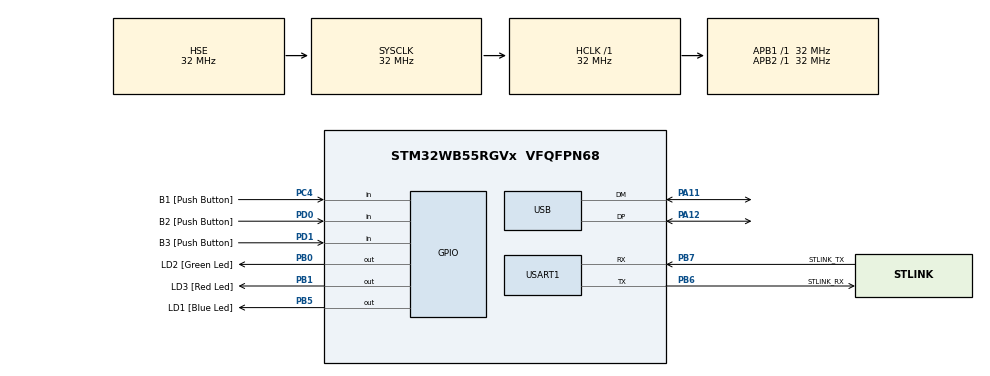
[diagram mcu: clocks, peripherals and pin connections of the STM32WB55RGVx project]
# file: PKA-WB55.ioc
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Mcu.Family=STM32WB
Mcu.Name=STM32WB55RGVx
Mcu.Package=VFQFPN68
NVIC.PriorityGroup=NVIC_PRIORITYGROUP_4
OSC_IN.Mode=HSE-External-Oscillator
OSC_IN.Signal=RCC_OSC_IN
OSC_OUT.Mode=HSE-External-Oscillator
OSC_OUT.Signal=RCC_OSC_OUT
PA11.Mode=Device
PA11.Signal=USB_DM
PA12.Mode=Device
PA12.Signal=USB_DP
PA13.GPIO_Label=JTMS
PA13.Mode=Trace_Asynchronous_SW
PA13.Signal=SYS_JTMS-SWDIO
PA14.GPIO_Label=JTCK
PA14.Mode=Trace_Asynchronous_SW
PA14.Signal=SYS_JTCK-SWCLK
PB0.GPIO_Label=LD2 [Green Led]
PB0.Signal=GPIO_Output
PB1.GPIO_Label=LD3 [Red Led]
PB1.Signal=GPIO_Output
PB3.GPIO_Label=JTDO
PB3.Mode=Trace_Asynchronous_SW
PB3.Signal=SYS_JTDO-SWO
PB5.GPIO_Label=LD1 [Blue Led]
PB5.Signal=GPIO_Output
PB6.GPIO_Label=STLINK_RX
PB6.GPIO_PuPd=GPIO_PULLUP
PB6.Mode=Asynchronous
PB6.Signal=USART1_TX
PB7.GPIO_Label=STLINK_TX
PB7.GPIO_PuPd=GPIO_PULLUP
PB7.Mode=Asynchronous
PB7.Signal=USART1_RX
PC13.Mode=SYS_WakeUp1
PC13.Signal=SYS_WKUP2
PC14-OSC32_IN.Mode=LSE-External-Oscillator
PC14-OSC32_IN.Signal=RCC_OSC32_IN
PC15-OSC32_OUT.Mode=LSE-External-Oscillator
PC15-OSC32_OUT.Signal=RCC_OSC32_OUT
PC4.GPIO_Label=B1 [Push Button]
PC4.Signal=GPIO_Input
PD0.GPIO_Label=B2 [Push Button]
PD0.Signal=GPIO_Input
PD1.GPIO_Label=B3 [Push Button]
PD1.Signal=GPIO_Input
ProjectManager.HeapSize=0x200
ProjectManager.StackSize=0x400
ProjectManager.TargetToolchain=STM32CubeIDE
RCC.ADCFreq_Value=48000000
RCC.AHBFreq_Value=32000000
RCC.APB1Freq_Value=32000000
RCC.APB1TimFreq_Value=32000000
RCC.APB2Freq_Value=32000000
RCC.APB2TimFreq_Value=32000000
RCC.APB3Freq_Value=16000000
RCC.CortexFreq_Value=32000000
RCC.HCLKFreq_Value=32000000
RCC.HSE_VALUE=32000000
RCC.HSI48_VALUE=48000000
RCC.HSI_VALUE=16000000
RCC.PLLN=32
RCC.PLLSAI1N=24
RCC.SMPSCLockSelectionVirtual=RCC_SMPSCLKSOURCE_HSI
RCC.SMPSCLockSelectionVirtualVirtual=RCC_SMPSCLKSOURCE_HSI
RCC.SMPSDivider=1
RCC.SYSCLKFreq_VALUE=32000000
RCC.SYSCLKSource=RCC_SYSCLKSOURCE_HSE
RCC.USBFreq_Value=48000000
RCC.VCOOutputFreq_Value=128000000
USART1.VirtualMode-Asynchronous=VM_ASYNC
USART1.WordLength=WORDLENGTH_7B
VP_PKA_VS_PKA.Mode=PKA_Activate
board=P-NUCLEO-WB55-Nucleo

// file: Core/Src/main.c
/* USER CODE BEGIN Header */
/**
  ******************************************************************************
  * @file           : main.c
  * @brief          : Main program body
  ******************************************************************************
  * @attention
  *
  * <h2><center>&copy; Copyright (c) 2021 STMicroelectronics.
  * All rights reserved.</center></h2>
  *
  * This software component is licensed by ST under BSD 3-Clause license,
  * the "License"; You may not use this file except in compliance with the
  * License. You may obtain a copy of the License at:
  *                        opensource.org/licenses/BSD-3-Clause
  *
  ******************************************************************************

-----BEGIN RSA PRIVATE KEY-----
MIICXAIBAAKBgQC1tZiF2UJFwA3ds4mspvqmxjBIyf5Terq7Xzwkh2QOjUCzW1aD
3r0OQqK/JhiY4NcluzkSnXSasRrY5qxbSsjGElC8VgsW61BsdB3Nh+UCfibO9czb
Y7DIX7pdaIQMiSyUadhasKzTe02c620VeABAjgXizWqbGpjwAeJa6ziHmQIDAQAB
AoGABS3j5wzGQs6ylnsjlXQ8+Lv1bF21jhOVdvnD8Raa139XNMWJtcCHivyDPweK
8/CUsVKg0dMDG9Woej4483EyP8atCdPT9hJQOQX1JNqx8gfQBUrwDr+1ffwFxUyd
hEoomWqWn+bmUcJE9Dpt4JLHfnlV6BS7tN+mOZunQ4ZQHcECQQDyPvxRwdWSRxpQ
sjBee+M2fzcynDpZNI6hLrZ9ouRR88TVCW3WVG4sTF9Hou8rN8tG0XgUJnHpPMmZ
obJdK/z9AkEAwAa3rOFjkkfnfh8IFDI0awFXxKZBsIz8sFOOeHjg/y+M0I3mENve
YCzAvUP7c7HPnTeDB69iSrMjaK5oM6YFzQJAWFtg7PEmVRRaJNTZj5zgYyBDodIZ
9i+VVnUTWv/vB3VCdfHafjKNfNreZeKoGbtgCZSdl7vuEIR7g+3WgOVqgQJAawjT
hMe1KqptvH0rkaZSVXrQI0rQvso3Z0mL1lb6gwNMKEuP+8GyeEU5wcWM+XYZVXbF
0JjP3vdvO0BL0M4v2QJBAI8kcn+nlpVXEOSFdY7njnnzh4LZd9wCDfLWyWNsTWuq
2x5Hf/ZxEzPJKj6OA90Q9CDfvePtVKek9T1VVUQEnRg=
-----END RSA PRIVATE KEY-----

RSA Private-Key: (1024 bit, 2 primes)
modulus:
    00:b5:b5:98:85:d9:42:45:c0:0d:dd:b3:89:ac:a6:
    fa:a6:c6:30:48:c9:fe:53:7a:ba:bb:5f:3c:24:87:
    64:0e:8d:40:b3:5b:56:83:de:bd:0e:42:a2:bf:26:
    18:98:e0:d7:25:bb:39:12:9d:74:9a:b1:1a:d8:e6:
    ac:5b:4a:c8:c6:12:50:bc:56:0b:16:eb:50:6c:74:
    1d:cd:87:e5:02:7e:26:ce:f5:cc:db:63:b0:c8:5f:
    ba:5d:68:84:0c:89:2c:94:69:d8:5a:b0:ac:d3:7b:
    4d:9c:eb:6d:15:78:00:40:8e:05:e2:cd:6a:9b:1a:
    98:f0:01:e2:5a:eb:38:87:99
publicExponent: 65537 (0x10001)
privateExponent:
    05:2d:e3:e7:0c:c6:42:ce:b2:96:7b:23:95:74:3c:
    f8:bb:f5:6c:5d:b5:8e:13:95:76:f9:c3:f1:16:9a:
    d7:7f:57:34:c5:89:b5:c0:87:8a:fc:83:3f:07:8a:
    f3:f0:94:b1:52:a0:d1:d3:03:1b:d5:a8:7a:3e:38:
    f3:71:32:3f:c6:ad:09:d3:d3:f6:12:50:39:05:f5:
    24:da:b1:f2:07:d0:05:4a:f0:0e:bf:b5:7d:fc:05:
    c5:4c:9d:84:4a:28:99:6a:96:9f:e6:e6:51:c2:44:
    f4:3a:6d:e0:92:c7:7e:79:55:e8:14:bb:b4:df:a6:
    39:9b:a7:43:86:50:1d:c1
prime1:
    00:f2:3e:fc:51:c1:d5:92:47:1a:50:b2:30:5e:7b:
    e3:36:7f:37:32:9c:3a:59:34:8e:a1:2e:b6:7d:a2:
    e4:51:f3:c4:d5:09:6d:d6:54:6e:2c:4c:5f:47:a2:
    ef:2b:37:cb:46:d1:78:14:26:71:e9:3c:c9:99:a1:
    b2:5d:2b:fc:fd
prime2:
    00:c0:06:b7:ac:e1:63:92:47:e7:7e:1f:08:14:32:
    34:6b:01:57:c4:a6:41:b0:8c:fc:b0:53:8e:78:78:
    e0:ff:2f:8c:d0:8d:e6:10:db:de:60:2c:c0:bd:43:
    fb:73:b1:cf:9d:37:83:07:af:62:4a:b3:23:68:ae:
    68:33:a6:05:cd
exponent1:
    58:5b:60:ec:f1:26:55:14:5a:24:d4:d9:8f:9c:e0:
    63:20:43:a1:d2:19:f6:2f:95:56:75:13:5a:ff:ef:
    07:75:42:75:f1:da:7e:32:8d:7c:da:de:65:e2:a8:
    19:bb:60:09:94:9d:97:bb:ee:10:84:7b:83:ed:d6:
    80:e5:6a:81
exponent2:
    6b:08:d3:84:c7:b5:2a:aa:6d:bc:7d:2b:91:a6:52:
    55:7a:d0:23:4a:d0:be:ca:37:67:49:8b:d6:56:fa:
    83:03:4c:28:4b:8f:fb:c1:b2:78:45:39:c1:c5:8c:
    f9:76:19:55:76:c5:d0:98:cf:de:f7:6f:3b:40:4b:
    d0:ce:2f:d9
coefficient:
    00:8f:24:72:7f:a7:96:95:57:10:e4:85:75:8e:e7:
    8e:79:f3:87:82:d9:77:dc:02:0d:f2:d6:c9:63:6c:
    4d:6b:aa:db:1e:47:7f:f6:71:13:33:c9:2a:3e:8e:
    03:dd:10:f4:20:df:bd:e3:ed:54:a7:a4:f5:3d:55:
    55:44:04:9d:18
writing RSA key
-----BEGIN RSA PRIVATE KEY-----
MIICXAIBAAKBgQC1tZiF2UJFwA3ds4mspvqmxjBIyf5Terq7Xzwkh2QOjUCzW1aD
3r0OQqK/JhiY4NcluzkSnXSasRrY5qxbSsjGElC8VgsW61BsdB3Nh+UCfibO9czb
Y7DIX7pdaIQMiSyUadhasKzTe02c620VeABAjgXizWqbGpjwAeJa6ziHmQIDAQAB
AoGABS3j5wzGQs6ylnsjlXQ8+Lv1bF21jhOVdvnD8Raa139XNMWJtcCHivyDPweK
8/CUsVKg0dMDG9Woej4483EyP8atCdPT9hJQOQX1JNqx8gfQBUrwDr+1ffwFxUyd
hEoomWqWn+bmUcJE9Dpt4JLHfnlV6BS7tN+mOZunQ4ZQHcECQQDyPvxRwdWSRxpQ
sjBee+M2fzcynDpZNI6hLrZ9ouRR88TVCW3WVG4sTF9Hou8rN8tG0XgUJnHpPMmZ
obJdK/z9AkEAwAa3rOFjkkfnfh8IFDI0awFXxKZBsIz8sFOOeHjg/y+M0I3mENve
YCzAvUP7c7HPnTeDB69iSrMjaK5oM6YFzQJAWFtg7PEmVRRaJNTZj5zgYyBDodIZ
9i+VVnUTWv/vB3VCdfHafjKNfNreZeKoGbtgCZSdl7vuEIR7g+3WgOVqgQJAawjT
hMe1KqptvH0rkaZSVXrQI0rQvso3Z0mL1lb6gwNMKEuP+8GyeEU5wcWM+XYZVXbF
0JjP3vdvO0BL0M4v2QJBAI8kcn+nlpVXEOSFdY7njnnzh4LZd9wCDfLWyWNsTWuq
2x5Hf/ZxEzPJKj6OA90Q9CDfvePtVKek9T1VVUQEnRg=
-----END RSA PRIVATE KEY-----
  */
/* USER CODE END Header */
#include "main.h"

PKA_HandleTypeDef hpka;

UART_HandleTypeDef huart1;

PCD_HandleTypeDef hpcd_USB_FS;

/* USER CODE BEGIN PV */
uint8_t modulus[]= {0xb5, 0xb5, 0x98, 0x85, 0xd9, 0x42, 0x45, 0xc0, 0x0d, 0xdd, 0xb3, 0x89, 0xac, 0xa6, 0xfa, 0xa6, 0xc6, 0x30, 0x48, 0xc9, 0xfe, 0x53, 0x7a, 0xba, 0xbb, 0x5f, 0x3c, 0x24, 0x87, 0x64, 0x0e, 0x8d, 0x40, 0xb3, 0x5b, 0x56, 0x83, 0xde, 0xbd, 0x0e, 0x42, 0xa2, 0xbf, 0x26, 0x18, 0x98, 0xe0, 0xd7, 0x25, 0xbb, 0x39, 0x12, 0x9d, 0x74, 0x9a, 0xb1, 0x1a, 0xd8, 0xe6, 0xac, 0x5b, 0x4a, 0xc8, 0xc6, 0x12, 0x50, 0xbc, 0x56, 0x0b, 0x16, 0xeb, 0x50, 0x6c, 0x74, 0x1d, 0xcd, 0x87, 0xe5, 0x02, 0x7e, 0x26, 0xce, 0xf5, 0xcc, 0xdb, 0x63, 0xb0, 0xc8, 0x5f, 0xba, 0x5d, 0x68, 0x84, 0x0c, 0x89, 0x2c, 0x94, 0x69, 0xd8, 0x5a, 0xb0, 0xac, 0xd3, 0x7b, 0x4d, 0x9c, 0xeb, 0x6d, 0x15, 0x78, 0x00, 0x40, 0x8e, 0x05, 0xe2, 0xcd, 0x6a, 0x9b, 0x1a, 0x98, 0xf0, 0x01, 0xe2, 0x5a, 0xeb, 0x38, 0x87, 0x99};
uint8_t publicExponent[]={0x00,0x01,0x00,0x01};
uint8_t privateExponent[]={0x05, 0x2d, 0xe3, 0xe7, 0x0c, 0xc6, 0x42, 0xce, 0xb2, 0x96, 0x7b, 0x23, 0x95, 0x74, 0x3c, 0xf8, 0xbb, 0xf5, 0x6c, 0x5d, 0xb5, 0x8e, 0x13, 0x95, 0x76, 0xf9, 0xc3, 0xf1, 0x16, 0x9a, 0xd7, 0x7f, 0x57, 0x34, 0xc5, 0x89, 0xb5, 0xc0, 0x87, 0x8a, 0xfc, 0x83, 0x3f, 0x07, 0x8a, 0xf3, 0xf0, 0x94, 0xb1, 0x52, 0xa0, 0xd1, 0xd3, 0x03, 0x1b, 0xd5, 0xa8, 0x7a, 0x3e, 0x38, 0xf3, 0x71, 0x32, 0x3f, 0xc6, 0xad, 0x09, 0xd3, 0xd3, 0xf6, 0x12, 0x50, 0x39, 0x05, 0xf5, 0x24, 0xda, 0xb1, 0xf2, 0x07, 0xd0, 0x05, 0x4a, 0xf0, 0x0e, 0xbf, 0xb5, 0x7d, 0xfc, 0x05, 0xc5, 0x4c, 0x9d, 0x84, 0x4a, 0x28, 0x99, 0x6a, 0x96, 0x9f, 0xe6, 0xe6, 0x51, 0xc2, 0x44, 0xf4, 0x3a, 0x6d, 0xe0, 0x92, 0xc7, 0x7e, 0x79, 0x55, 0xe8, 0x14, 0xbb, 0xb4, 0xdf, 0xa6, 0x39, 0x9b, 0xa7, 0x43, 0x86, 0x50, 0x1d, 0xc1};
uint8_t plaintext[128]={
		0,1,2,3,4,5,6,7,8,9,10,11,12,13,14,15,
		0,1,2,3,4,5,6,7,8,9,10,11,12,13,14,15,
		0,1,2,3,4,5,6,7,8,9,10,11,12,13,14,15,
		0,1,2,3,4,5,6,7,8,9,10,11,12,13,14,15,
		0,1,2,3,4,5,6,7,8,9,10,11,12,13,14,15,
		0,1,2,3,4,5,6,7,8,9,10,11,12,13,14,15,
		0,1,2,3,4,5,6,7,8,9,10,11,12,13,14,15,
		0,1,2,3,4,5,6,7,8,9,10,11,12,13,14,15
};

uint8_t encrypted_data[128];
uint8_t decrypted_data[128];
/* USER CODE END PV */

void SystemClock_Config(void);
static void MX_GPIO_Init(void);
static void MX_PKA_Init(void);
static void MX_USART1_UART_Init(void);
static void MX_USB_PCD_Init(void);

int main(void)
{
  /* USER CODE BEGIN 1 */
	PKA_ModExpInTypeDef in;
  /* USER CODE END 1 */

  /* MCU Configuration--------------------------------------------------------*/

  /* Reset of all peripherals, Initializes the Flash interface and the Systick. */
  HAL_Init();

  /* Configure the system clock */
  SystemClock_Config();

  /* Initialize all configured peripherals */
  MX_GPIO_Init();
  MX_PKA_Init();
  MX_USART1_UART_Init();
  MX_USB_PCD_Init();
  /* USER CODE BEGIN 2 */
  //encryption
  in.expSize=sizeof(publicExponent);
  in.OpSize=sizeof(modulus);
  in.pExp=publicExponent;
  in.pMod=modulus;
  in.pOp1=plaintext;
if (HAL_PKA_ModExp(&hpka, &in, 1000) != HAL_OK)
{
	Error_Handler();
}

HAL_PKA_ModExp_GetResult(&hpka, encrypted_data);

MX_GPIO_Init();
  MX_PKA_Init();
  MX_USART1_UART_Init();
  MX_USB_PCD_Init();

  //decryption
  in.expSize=sizeof(privateExponent);
  in.OpSize=sizeof(modulus);
  in.pExp=privateExponent;
  in.pMod=modulus;
  in.pOp1=encrypted_data;
if (HAL_PKA_ModExp(&hpka, &in, 5000) != HAL_OK)
{
	Error_Handler();
}

HAL_PKA_ModExp_GetResult(&hpka, decrypted_data);
  /* USER CODE END 2 */

  /* Infinite loop */
  while (1)
  {

  }
}

void SystemClock_Config(void)
{
  RCC_OscInitTypeDef RCC_OscInitStruct = {0};
  RCC_ClkInitTypeDef RCC_ClkInitStruct = {0};
  RCC_PeriphCLKInitTypeDef PeriphClkInitStruct = {0};

  /** Macro to configure the PLL multiplication factor
  */
  __HAL_RCC_PLL_PLLM_CONFIG(RCC_PLLM_DIV1);
  /** Macro to configure the PLL clock source
  */
  __HAL_RCC_PLL_PLLSOURCE_CONFIG(RCC_PLLSOURCE_MSI);
  /** Configure LSE Drive Capability
  */
  HAL_PWR_EnableBkUpAccess();
  __HAL_RCC_LSEDRIVE_CONFIG(RCC_LSEDRIVE_LOW);
  /** Configure the main internal regulator output voltage
  */
  __HAL_PWR_VOLTAGESCALING_CONFIG(PWR_REGULATOR_VOLTAGE_SCALE1);
  /** Initializes the RCC Oscillators according to the specified parameters
  * in the RCC_OscInitTypeDef structure.
  */
  RCC_OscInitStruct.OscillatorType = RCC_OSCILLATORTYPE_HSI|RCC_OSCILLATORTYPE_HSE
                              |RCC_OSCILLATORTYPE_LSE|RCC_OSCILLATORTYPE_MSI;
  RCC_OscInitStruct.HSEState = RCC_HSE_ON;
  RCC_OscInitStruct.LSEState = RCC_LSE_ON;
  RCC_OscInitStruct.HSIState = RCC_HSI_ON;
  RCC_OscInitStruct.MSIState = RCC_MSI_ON;
  RCC_OscInitStruct.HSICalibrationValue = RCC_HSICALIBRATION_DEFAULT;
  RCC_OscInitStruct.MSICalibrationValue = RCC_MSICALIBRATION_DEFAULT;
  RCC_OscInitStruct.MSIClockRange = RCC_MSIRANGE_6;
  RCC_OscInitStruct.PLL.PLLState = RCC_PLL_NONE;
  if (HAL_RCC_OscConfig(&RCC_OscInitStruct) != HAL_OK)
  {
    Error_Handler();
  }
  /** Configure the SYSCLKSource, HCLK, PCLK1 and PCLK2 clocks dividers
  */
  RCC_ClkInitStruct.ClockType = RCC_CLOCKTYPE_HCLK4|RCC_CLOCKTYPE_HCLK2
                              |RCC_CLOCKTYPE_HCLK|RCC_CLOCKTYPE_SYSCLK
                              |RCC_CLOCKTYPE_PCLK1|RCC_CLOCKTYPE_PCLK2;
  RCC_ClkInitStruct.SYSCLKSource = RCC_SYSCLKSOURCE_HSE;
  RCC_ClkInitStruct.AHBCLKDivider = RCC_SYSCLK_DIV1;
  RCC_ClkInitStruct.APB1CLKDivider = RCC_HCLK_DIV1;
  RCC_ClkInitStruct.APB2CLKDivider = RCC_HCLK_DIV1;
  RCC_ClkInitStruct.AHBCLK2Divider = RCC_SYSCLK_DIV1;
  RCC_ClkInitStruct.AHBCLK4Divider = RCC_SYSCLK_DIV1;

  if (HAL_RCC_ClockConfig(&RCC_ClkInitStruct, FLASH_LATENCY_1) != HAL_OK)
  {
    Error_Handler();
  }
  /** Initializes the peripherals clocks
  */
  PeriphClkInitStruct.PeriphClockSelection = RCC_PERIPHCLK_SMPS|RCC_PERIPHCLK_USART1
                              |RCC_PERIPHCLK_USB;
  PeriphClkInitStruct.PLLSAI1.PLLN = 24;
  PeriphClkInitStruct.PLLSAI1.PLLP = RCC_PLLP_DIV2;
  PeriphClkInitStruct.PLLSAI1.PLLQ = RCC_PLLQ_DIV2;
  PeriphClkInitStruct.PLLSAI1.PLLR = RCC_PLLR_DIV2;
  PeriphClkInitStruct.PLLSAI1.PLLSAI1ClockOut = RCC_PLLSAI1_USBCLK;
  PeriphClkInitStruct.Usart1ClockSelection = RCC_USART1CLKSOURCE_PCLK2;
  PeriphClkInitStruct.UsbClockSelection = RCC_USBCLKSOURCE_PLLSAI1;
  PeriphClkInitStruct.SmpsClockSelection = RCC_SMPSCLKSOURCE_HSI;
  PeriphClkInitStruct.SmpsDivSelection = RCC_SMPSCLKDIV_RANGE0;
  if (HAL_RCCEx_PeriphCLKConfig(&PeriphClkInitStruct) != HAL_OK)
  {
    Error_Handler();
  }
  /** Enable MSI Auto calibration
  */
  HAL_RCCEx_EnableMSIPLLMode();
}

static void MX_PKA_Init(void)
{

  hpka.Instance = PKA;
  if (HAL_PKA_Init(&hpka) != HAL_OK)
  {
    Error_Handler();
  }

}

static void MX_USART1_UART_Init(void)
{

  huart1.Instance = USART1;
  huart1.Init.BaudRate = 115200;
  huart1.Init.WordLength = UART_WORDLENGTH_7B;
  huart1.Init.StopBits = UART_STOPBITS_1;
  huart1.Init.Parity = UART_PARITY_NONE;
  huart1.Init.Mode = UART_MODE_TX_RX;
  huart1.Init.HwFlowCtl = UART_HWCONTROL_NONE;
  huart1.Init.OverSampling = UART_OVERSAMPLING_16;
  huart1.Init.OneBitSampling = UART_ONE_BIT_SAMPLE_DISABLE;
  huart1.Init.ClockPrescaler = UART_PRESCALER_DIV1;
  huart1.AdvancedInit.AdvFeatureInit = UART_ADVFEATURE_NO_INIT;
  if (HAL_UART_Init(&huart1) != HAL_OK)
  {
    Error_Handler();
  }
  if (HAL_UARTEx_SetTxFifoThreshold(&huart1, UART_TXFIFO_THRESHOLD_1_8) != HAL_OK)
  {
    Error_Handler();
  }
  if (HAL_UARTEx_SetRxFifoThreshold(&huart1, UART_RXFIFO_THRESHOLD_1_8) != HAL_OK)
  {
    Error_Handler();
  }
  if (HAL_UARTEx_DisableFifoMode(&huart1) != HAL_OK)
  {
    Error_Handler();
  }

}

static void MX_USB_PCD_Init(void)
{

  hpcd_USB_FS.Instance = USB;
  hpcd_USB_FS.Init.dev_endpoints = 8;
  hpcd_USB_FS.Init.speed = PCD_SPEED_FULL;
  hpcd_USB_FS.Init.phy_itface = PCD_PHY_EMBEDDED;
  hpcd_USB_FS.Init.Sof_enable = DISABLE;
  hpcd_USB_FS.Init.low_power_enable = DISABLE;
  hpcd_USB_FS.Init.lpm_enable = DISABLE;
  hpcd_USB_FS.Init.battery_charging_enable = DISABLE;
  if (HAL_PCD_Init(&hpcd_USB_FS) != HAL_OK)
  {
    Error_Handler();
  }

}

static void MX_GPIO_Init(void)
{
  GPIO_InitTypeDef GPIO_InitStruct = {0};

  /* GPIO Ports Clock Enable */
  __HAL_RCC_GPIOC_CLK_ENABLE();
  __HAL_RCC_GPIOB_CLK_ENABLE();
  __HAL_RCC_GPIOA_CLK_ENABLE();
  __HAL_RCC_GPIOD_CLK_ENABLE();

  /*Configure GPIO pin Output Level */
  HAL_GPIO_WritePin(GPIOB, LD2_Pin|LD3_Pin|LD1_Pin, GPIO_PIN_RESET);

  /*Configure GPIO pin : B1_Pin */
  GPIO_InitStruct.Pin = B1_Pin;
  GPIO_InitStruct.Mode = GPIO_MODE_INPUT;
  GPIO_InitStruct.Pull = GPIO_NOPULL;
  HAL_GPIO_Init(B1_GPIO_Port, &GPIO_InitStruct);

  /*Configure GPIO pins : LD2_Pin LD3_Pin LD1_Pin */
  GPIO_InitStruct.Pin = LD2_Pin|LD3_Pin|LD1_Pin;
  GPIO_InitStruct.Mode = GPIO_MODE_OUTPUT_PP;
  GPIO_InitStruct.Pull = GPIO_NOPULL;
  GPIO_InitStruct.Speed = GPIO_SPEED_FREQ_LOW;
  HAL_GPIO_Init(GPIOB, &GPIO_InitStruct);

  /*Configure GPIO pins : B2_Pin B3_Pin */
  GPIO_InitStruct.Pin = B2_Pin|B3_Pin;
  GPIO_InitStruct.Mode = GPIO_MODE_INPUT;
  GPIO_InitStruct.Pull = GPIO_NOPULL;
  HAL_GPIO_Init(GPIOD, &GPIO_InitStruct);

}

void Error_Handler(void)
{
  __disable_irq();
  while (1)
  {
  }
}

/************************ (C) COPYRIGHT STMicroelectronics *****END OF FILE****/
